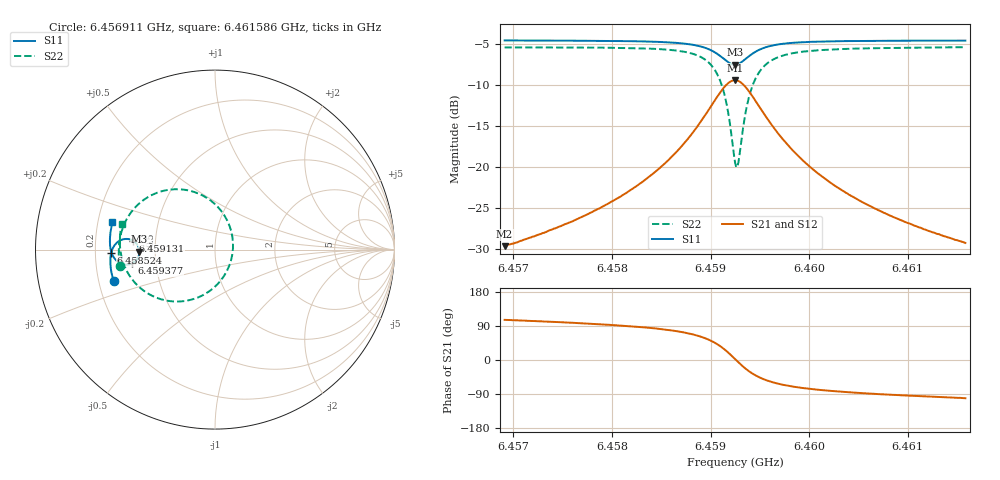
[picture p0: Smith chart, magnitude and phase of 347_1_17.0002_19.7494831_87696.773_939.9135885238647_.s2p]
#  HZ  S  RI  R  50.00
! Rohde & Schwarz Vector Network Analyzer
! Rohde-Schwarz,ZNB20-2Port,1311601062101988,3.16
! Created: UTC 3/20/2024, 11:07:40 PM
! freq[Hz]  re:S11  im:S11  re:S21  im:S21  re:S12  im:S12  re:S22  im:S22
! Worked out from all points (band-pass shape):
!   401 points, 6.456911 GHz to 6.461586 GHz, reference 50 ohm
!   highest |S21| = -9.40 dB at 6.459248 GHz (marker M1); lowest = -29.6 dB at 6.456911 GHz (marker M2)
!   |S21| within 3 dB of the highest: 6.459014 GHz to 6.459482 GHz (467.9 kHz wide, 0.00724 % of centre)
!   lowest |S11| = -7.5 dB at 6.459248 GHz (marker M3), VSWR 2.45, Z = 20.4 - j0.595 ohm
!   |S11| at or under -10 dB: nowhere
!   |S22| runs from -20.0 to -5.4 dB; largest |S21 - S12| = 0.013
!   S11 on the Smith chart (normalised r, x): 6.456911 GHz: 0.26, -0.14; 6.458524 GHz: 0.27, -0.01; 6.459131 GHz: 0.37, +0.05; 6.459377 GHz: 0.36, -0.07; 6.461586 GHz: 0.26, +0.12
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6.4569111e9  -0.565 -0.1773  -0.00903 0.0317  -0.0074 0.0317  -0.5296 -0.0899
6.4576941e9  -0.5798 -0.1093  -0.00593 0.0493  -0.00337 0.0488  -0.5361 0.000288
6.4581031e9  -0.5831 -0.0688  -0.000626 0.0672  0.0025 0.066  -0.5295 0.0632
6.458477e9  -0.5797 -0.025  0.0132 0.0969  0.0172 0.0944  -0.5044 0.1448
6.4585238e9  -0.5784 -0.0186  0.0166 0.1023  0.0206 0.0994  -0.4982 0.1577
6.4587341e9  -0.5664 0.0133  0.0422 0.1336  0.0463 0.1289  -0.4505 0.2287
6.4588861e9  -0.5456 0.0395  0.0839 0.1635  0.0873 0.1571  -0.3734 0.2924
6.459038e9  -0.5002 0.0591  0.1743 0.1825  0.1751 0.1753  -0.209 0.3364
6.4591315e9  -0.4564 0.0496  0.2626 0.1522  0.2627 0.1463  -0.0456 0.288
6.4591782e9  -0.4356 0.0311  0.3055 0.1104  0.3067 0.1051  0.036 0.2136
6.4592483e9  -0.4209 -0.012  0.3385 0.0154  0.3419 0.00868  0.1002 0.0381
6.45926e9  -0.4214 -0.0199  0.3385 -0.00194  0.3421 -0.00952  0.1001 0.00522
6.4592834e9  -0.4248 -0.0352  0.3331 -0.036  0.3367 -0.0449  0.0894 -0.0591
6.4593301e9  -0.4401 -0.0607  0.3055 -0.0948  0.3073 -0.1064  0.0337 -0.17
6.4593769e9  -0.4615 -0.0767  0.2643 -0.1352  0.2635 -0.1481  -0.0491 -0.2434
6.4594704e9  -0.5042 -0.0832  0.1814 -0.1661  0.1754 -0.1773  -0.2138 -0.2895
6.4596223e9  -0.5473 -0.0629  0.0952 -0.1532  0.087 -0.1592  -0.378 -0.242
6.4597859e9  -0.5685 -0.0355  0.051 -0.1261  0.0435 -0.1287  -0.4572 -0.1717
6.4600313e9  -0.5812 0.000307  0.0223 -0.0953  0.0165 -0.0958  -0.5046 -0.0905
6.4604052e9  -0.5856 0.0438  0.00579 -0.0676  0.00188 -0.0673  -0.5267 -0.008
6.4608142e9  -0.5836 0.0843  -0.00131 -0.0508  -0.00416 -0.0501  -0.5302 0.0554
6.4615855e9  -0.5711 0.1526  -0.0065 -0.0339  -0.00807 -0.0329  -0.5189 0.1452
